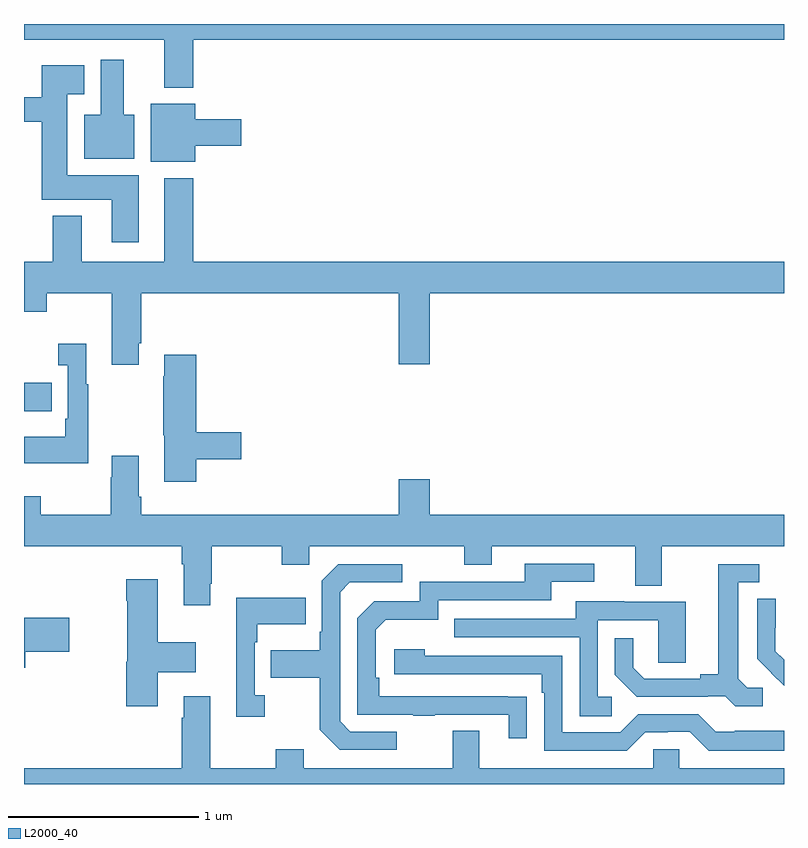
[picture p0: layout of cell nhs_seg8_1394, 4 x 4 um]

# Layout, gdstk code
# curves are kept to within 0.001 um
import gdstk
lib = gdstk.Library(unit=1e-6, precision=1e-09)
def R(c, l, rs):  # rectangles x0, y0, x1, y1
    for r in rs: c.add(gdstk.rectangle(r[:2], r[2:], *l))
def P(c, l, *ps):  # polygons
    for p in ps: c.add(gdstk.Polygon(p, *l))
L2000_40 = (2000, 40)

nhs_seg8_1394 = lib.new_cell('nhs_seg8_1394')
R(nhs_seg8_1394, L2000_40, [(199,1131.863,199.145,1132.011)])
P(nhs_seg8_1394, L2000_40, [(203,1133.9),(199,1133.9),(199,1133.816),(199.739,1133.816),(199.739,1133.564),(199.892,1133.564),(199.892,1133.816),(203,1133.816)],
  [(199.579,1133.422),(199.525,1133.422),(199.525,1133.713),(199.403,1133.713),(199.403,1133.422),(199.316,1133.422),(199.316,1133.192),(199.579,1133.192)],
  [(199.603,1133.104),(199.228,1133.104),(199.228,1133.531),(199.318,1133.531),(199.318,1133.683),(199.094,1133.683),(199.094,1133.515),(199,1133.515),(199,1133.386),(199.094,1133.386),(199.094,1132.976),(199.463,1132.976),(199.463,1132.752),(199.603,1132.752)],
  [(199.9,1133.258),(200.143,1133.258),(200.143,1133.4),(199.9,1133.4),(199.9,1133.479),(199.667,1133.479),(199.667,1133.174),(199.9,1133.174)],
  [(199.603,1132.219),(199.616,1132.219),(199.616,1132.484),(200.972,1132.484),(200.972,1132.11),(201.136,1132.11),(201.136,1132.484),(203,1132.484),(203,1132.648),(199.892,1132.648),(199.892,1133.089),(199.739,1133.089),(199.739,1132.648),(199.303,1132.648),(199.303,1132.891),(199.151,1132.891),(199.151,1132.648),(199,1132.648),(199,1132.385),(199.119,1132.385),(199.119,1132.484),(199.463,1132.484),(199.463,1132.107),(199.603,1132.107)],
  [(199.339,1132.003),(199.327,1132.003),(199.327,1132.216),(199.179,1132.216),(199.179,1132.103),(199.23,1132.103),(199.23,1131.823),(199.218,1131.823),(199.218,1131.727),(199,1131.727),(199,1131.587),(199.339,1131.587)],
  [(199.907,1131.61),(200.143,1131.61),(200.143,1131.752),(199.907,1131.752),(199.907,1132.159),(199.739,1132.159),(199.739,1132.046),(199.732,1132.046),(199.732,1131.735),(199.739,1131.735),(199.739,1131.492),(199.907,1131.492)],
  [(199.981,1130.953),(199.989,1130.953),(199.989,1131.152),(200.356,1131.152),(200.356,1131.053),(200.502,1131.053),(200.502,1131.152),(201.316,1131.152),(201.316,1131.053),(201.463,1131.053),(201.463,1131.152),(202.217,1131.152),(202.217,1130.944),(202.357,1130.944),(202.357,1131.152),(203,1131.152),(203,1131.316),(201.136,1131.316),(201.136,1131.505),(200.972,1131.505),(200.972,1131.316),(199.616,1131.316),(199.616,1131.412),(199.603,1131.412),(199.603,1131.628),(199.463,1131.628),(199.463,1131.515),(199.456,1131.515),(199.456,1131.316),(199.089,1131.316),(199.089,1131.415),(199,1131.415),(199,1131.152),(199.829,1131.152),(199.829,1131.056),(199.841,1131.056),(199.841,1130.841),(199.981,1130.841)],
  [(201.647,1130.36),(200.87,1130.361),(200.87,1130.458),(200.85,1130.458),(200.85,1130.712),(200.903,1130.765),(201.18,1130.765),(201.18,1130.868),(201.775,1130.868),(201.775,1130.964),(202,1130.964),(202,1131.06),(201.635,1131.06),(201.635,1130.964),(201.084,1130.964),(201.084,1130.862),(200.844,1130.862),(200.754,1130.772),(200.754,1130.265),(201.049,1130.265),(201.049,1130.26),(201.161,1130.26),(201.161,1130.265),(201.551,1130.265),(201.551,1130.142),(201.647,1130.142)],
  [(200.962,1130.175),(200.718,1130.175),(200.664,1130.229),(200.664,1130.91),(200.715,1130.961),(200.992,1130.961),(200.992,1131.057),(200.655,1131.057),(200.568,1130.97),(200.568,1130.701),(200.556,1130.701),(200.556,1130.605),(200.299,1130.605),(200.299,1130.458),(200.556,1130.458),(200.556,1130.185),(200.661,1130.079),(200.962,1130.079)],
  [(202.888,1130.406),(202.806,1130.406),(202.759,1130.453),(202.759,1130.961),(202.87,1130.961),(202.87,1131.057),(202.655,1131.057),(202.655,1130.477),(202.559,1130.477),(202.559,1130.454),(202.264,1130.454),(202.207,1130.511),(202.207,1130.668),(202.11,1130.668),(202.11,1130.474),(202.226,1130.358),(202.598,1130.358),(202.598,1130.361),(202.692,1130.361),(202.744,1130.309),(202.888,1130.309)],
  [(199.705,1130.489),(199.903,1130.489),(199.903,1130.647),(199.705,1130.647),(199.705,1130.977),(199.538,1130.977),(199.538,1130.864),(199.543,1130.864),(199.543,1130.543),(199.538,1130.543),(199.538,1130.31),(199.705,1130.31)],
  [(200.266,1130.366),(200.214,1130.366),(200.214,1130.645),(200.227,1130.645),(200.227,1130.741),(200.483,1130.741),(200.483,1130.881),(200.117,1130.881),(200.117,1130.253),(200.266,1130.253)],
  [(203,1130.554),(202.955,1130.6),(202.955,1130.722),(202.956,1130.722),(202.956,1130.876),(202.86,1130.876),(202.86,1130.558),(202.933,1130.485),(202.932,1130.484),(203,1130.416)],
  [(202.093,1130.358),(202.02,1130.358),(202.02,1130.763),(202.338,1130.763),(202.338,1130.539),(202.483,1130.539),(202.483,1130.859),(202.159,1130.859),(202.159,1130.863),(201.905,1130.863),(201.905,1130.769),(201.265,1130.769),(201.265,1130.673),(201.924,1130.673),(201.924,1130.257),(202.093,1130.257)],
  [(199.006,1130.597),(199.237,1130.597),(199.237,1130.775),(199.002,1130.775),(199.002,1130.767),(199,1130.767),(199,1130.513),(199.006,1130.513)],
  [(203,1130.179),(202.741,1130.179),(202.741,1130.175),(202.641,1130.175),(202.548,1130.268),(202.233,1130.268),(202.137,1130.172),(201.834,1130.172),(201.834,1130.574),(201.11,1130.574),(201.11,1130.608),(200.949,1130.608),(200.949,1130.478),(201.725,1130.478),(201.725,1130.381),(201.738,1130.381),(201.738,1130.076),(202.173,1130.076),(202.269,1130.172),(202.388,1130.172),(202.388,1130.175),(202.503,1130.175),(202.603,1130.075),(203,1130.075)],
  [(203,1129.984),(202.449,1129.984),(202.449,1130.082),(202.311,1130.082),(202.311,1129.984),(201.397,1129.984),(201.397,1130.179),(201.257,1130.179),(201.257,1129.984),(200.473,1129.984),(200.473,1130.083),(200.326,1130.083),(200.326,1129.984),(199.981,1129.984),(199.981,1130.362),(199.841,1130.362),(199.841,1130.249),(199.829,1130.249),(199.829,1129.984),(199,1129.984),(199,1129.9),(203,1129.9)])

lib.write_gds('nhs_seg8_1394.gds')
